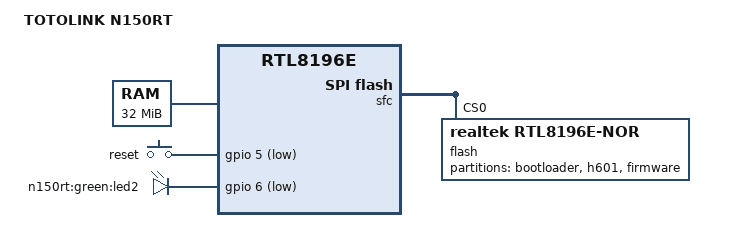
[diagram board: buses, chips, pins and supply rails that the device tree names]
// SPDX-License-Identifier: (GPL-2.0-only OR MIT)
/*
 * TOTOLINK N150RT — the board rlxfw is built for.  ONE DEVICE, NO SPARE.
 *
 * 🔴 NOT PROBED ON HARDWARE.  See dt/README.md.
 *
 * 🔴 The two read-only partitions below are not a preference.  `CLAUDE.md`'s
 * Never table: the loader region is unrecoverable if it is destroyed — there
 * is no spare and no external programmer — and `H601` holds THIS unit's MAC
 * and radio calibration, which a factory reset does not restore.  Expressing
 * that as `read-only;` in a device tree is the first time in this project the
 * rule has had a machine-readable form.
 */

/dts-v1/;

/include/ "rtl8196e.dtsi"

/ {
	compatible = "totolink,n150rt", "realtek,rtl8196e";
	model = "TOTOLINK N150RT";

	chosen {
		/* 量 BRD-10: the console is 38400 8N1 at 3.3 V logic levels,
		 * measured on both the value and the name — the narrowest
		 * pulse is 26 µs against 38400's 26.042 µs, 0.16 % out.  It is
		 * what the loader comes up at and what every capture under
		 * bench/ was taken through.
		 *
		 * 讀 FW-04: the string below is the VENDOR image's compiled-in
		 * command line, byte for byte, and it is quoted rather than
		 * invented — it carries no `init=`, which is a finding of its
		 * own.  Nothing here is rlxfw's own cmdline: this kernel takes
		 * an initramfs and CONFIG_CMDLINE, so a `bootargs` of mine
		 * would be a fourth thing and is not written until it is. */
		bootargs = "console=ttyS0,38400 root=/dev/mtdblock1";
	};

	/* 量 MEM-04: 32 MiB fitted, confirmed twice — the package (MEM-01,
	 * Winbond W9825G6KH-6, 256 Mbit organised 16M × 16) and the loader's
	 * own `ramSize: 32M` (MEM-05).  量 MEM-03: the bus is 16 bit.
	 *
	 * ⚠️ It is SDRAM, not DDR, and this comment said DDR until 2026-09-09.
	 *
	 * 推 for the BASE, and no row in SPEC.md owns it: physical 0 is where
	 * every address this project has used lands — the kernel is uploaded
	 * to 0x80500000, which is KSEG0 + 0x00500000, and runs.  That is a
	 * derivation from a working upload, not a reading of a controller
	 * register; MEM-08 records that the loader's SDRAM setup has never
	 * been read out.
	 *
	 * ⚠️ And this is the HARDWARE, not what Linux gets: MEM-06 measured
	 * the running vendor system seeing 26,052 kB. */
	memory@0 {
		device_type = "memory";
		reg = <0x00000000 0x02000000>;
	};

	/* 量 BRD-05, 2026-08-24: the reset button is a GPIO on PABCD bit 5,
	 * ACTIVE LOW with a pull-up — it is NOT wired to RESET#.  Pressed and
	 * released, `DW B8003500 1` differs in exactly one bit: XOR 0x00000020.
	 *
	 * 量 FW-40, 2026-09-06: the vendor's own path, read out of this
	 * image's compiled code — under 2 s nothing, 2–4 s SIGTERM to PID 1,
	 * ≥5 s writes ASCII '1' into `default_flag`.  Predicted before the
	 * press, then measured: /proc/load_default read 0, then 1.  `5000`
	 * below is that threshold, and it is measured rather than chosen.
	 *
	 * The second cell is GPIO_ACTIVE_LOW (1); dt/README.md § 1 says why
	 * the macro is not spelled out. */
	keys {
		compatible = "gpio-keys";

		key-reset {
			label = "reset";
			linux,code = <0x198>;		/* KEY_RESTART */
			gpios = <&gpio 5 1>;		/* GPIO_ACTIVE_LOW */
			debounce-interval = <60>;
		};
	};

	/* 量 BRD-13, 2026-09-09 (seating 19): PABCD bit 6 drives the SECOND of
	 * the eight LEDs on the board, ACTIVE LOW, with the polarity measured
	 * at both levels and the other seven LEDs as the negative control.
	 * Before that seating no source in this repository was light —
	 * REG-37 was a register, FW-40 a disassembly, BRD-06 said "possibly".
	 *
	 * 🔴 THIS LINE HAS A SECOND CONSUMER AND THAT IS NOT AN OVERSIGHT.
	 * The vendor's `rtl_gpio_timer` blinks bit 6 on the reset-button hold
	 * counter's parity (量 FW-40), so on the running vendor firmware two
	 * pieces of code drive one line.  In a device tree that conflict is
	 * visible, which is the point; on 2.6.30 it is the `-EBUSY` that
	 * `R5-7` has to answer.
	 *
	 * ⚠️ And bit 6 is NOT in the 2.6.30 driver's known_mask (量 C1-G0,
	 * 0x00000020 — bit 5 only), so that driver would refuse this consumer
	 * at .request before ALLOW_OUT_MASK was ever consulted.  The node
	 * describes the board; the driver is what has to change. */
	leds {
		compatible = "gpio-leds";

		led-1 {
			label = "n150rt:green:led2";
			gpios = <&gpio 6 1>;		/* GPIO_ACTIVE_LOW */
			default-state = "off";
		};
	};
};

&sfc {
	/* 量 FLS-14: 4,194,304 bytes, sha256 a800059a…10f37ea.
	 * 量 FLS-26 (2026-09-09, seating 18): 4,177,920 B proven identical to
	 * the 2026-08-16 dump, 8,192 B proven different, 8,192 B undetermined —
	 * and the undetermined 8,192 is exactly H601, never hashed by rule. */
	flash@0 {
		compatible = "realtek,rtl8196e-nor";
		reg = <0 0x00400000>;

		partitions {
			compatible = "fixed-partitions";
			#address-cells = <1>;
			#size-cells = <1>;

			/* 0x000000–0x005FFF.  Bricked is unrecoverable. */
			partition@0 {
				label = "bootloader";
				reg = <0x000000 0x006000>;
				read-only;
			};

			/* 0x006000–0x007FFF.  This unit's MAC and radio
			 * calibration.  A factory reset does not restore it,
			 * and 6.3 % of it has ever been read back by this
			 * project's own bracket. */
			partition@6000 {
				label = "h601";
				reg = <0x006000 0x002000>;
				read-only;
			};

			/* ⚠️ 未定 — the internal structure of everything above
			 * 0x008000 has NOT been established.  What is known:
			 * the `cr6c` header is in here, [0x9000,0xA000) and
			 * [0xD000,0xE000) are the two 4 KiB units that differ
			 * from the 2026-08-16 dump (量 FLS-26), and a
			 * 737,280-byte run from 0x34C000 is entirely 0xFF.
			 * One partition, because three would be three guesses. */
			partition@8000 {
				label = "firmware";
				reg = <0x008000 0x3f8000>;
			};
		};
	};
};
